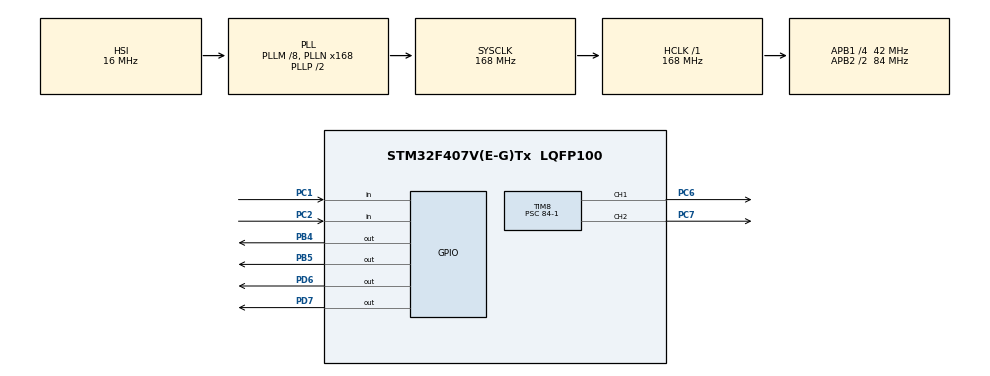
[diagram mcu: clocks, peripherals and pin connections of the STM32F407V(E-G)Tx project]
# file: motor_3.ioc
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Mcu.Family=STM32F4
Mcu.Name=STM32F407V(E-G)Tx
Mcu.Package=LQFP100
NVIC.PriorityGroup=NVIC_PRIORITYGROUP_4
PA13.Mode=Serial_Wire
PA13.Signal=SYS_JTMS-SWDIO
PA14.Mode=Serial_Wire
PA14.Signal=SYS_JTCK-SWCLK
PB4.Signal=GPIO_Output
PB5.Signal=GPIO_Output
PC1.GPIO_PuPd=GPIO_PULLUP
PC1.Signal=GPIO_Input
PC2.GPIO_PuPd=GPIO_PULLUP
PC2.Signal=GPIO_Input
PC6.Signal=S_TIM8_CH1
PC7.Signal=S_TIM8_CH2
PD6.Signal=GPIO_Output
PD7.Signal=GPIO_Output
PH0-OSC_IN.Mode=HSE-External-Oscillator
PH0-OSC_IN.Signal=RCC_OSC_IN
PH1-OSC_OUT.Mode=HSE-External-Oscillator
PH1-OSC_OUT.Signal=RCC_OSC_OUT
ProjectManager.HeapSize=0x200
ProjectManager.StackSize=0x400
ProjectManager.TargetToolchain=STM32CubeIDE
RCC.48MHZClocksFreq_Value=84000000
RCC.AHBFreq_Value=168000000
RCC.APB1CLKDivider=RCC_HCLK_DIV4
RCC.APB1Freq_Value=42000000
RCC.APB1TimFreq_Value=84000000
RCC.APB2CLKDivider=RCC_HCLK_DIV2
RCC.APB2Freq_Value=84000000
RCC.APB2TimFreq_Value=168000000
RCC.CortexFreq_Value=168000000
RCC.HCLKFreq_Value=168000000
RCC.HSE_VALUE=25000000
RCC.HSI_VALUE=16000000
RCC.LSE_VALUE=32768
RCC.PLLM=8
RCC.PLLN=168
RCC.SYSCLKFreq_VALUE=168000000
RCC.SYSCLKSource=RCC_SYSCLKSOURCE_PLLCLK
RCC.VCOOutputFreq_Value=336000000
SH.S_TIM8_CH1.0=TIM8_CH1,PWM Generation1 CH1
SH.S_TIM8_CH2.0=TIM8_CH2,PWM Generation2 CH2
TIM8.Channel-PWM\ Generation1\ CH1=TIM_CHANNEL_1
TIM8.Channel-PWM\ Generation2\ CH2=TIM_CHANNEL_2
TIM8.Period=1000-1
TIM8.Prescaler=84-1
VP_TIM8_VS_ClockSourceINT.Mode=Internal
board=custom

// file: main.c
/* USER CODE BEGIN Header */
/**
  ******************************************************************************
  * @file           : main.c
  * @brief          : Main program body
  ******************************************************************************
  * @attention
  *
  * Copyright (c) 2025 STMicroelectronics.
  * All rights reserved.
  *
  * This software is licensed under terms that can be found in the LICENSE file
  * in the root directory of this software component.
  * If no LICENSE file comes with this software, it is provided AS-IS.
  *
  ******************************************************************************
  */
/* USER CODE END Header */
#include "main.h"

/* USER CODE BEGIN PTD */
int status=0;
int key_1,key_2;
int speed;
uint8_t key1_pressed = 0;
uint8_t key2_pressed = 0;
/* USER CODE END PTD */

/* USER CODE BEGIN PD */
#define SPEED_LOW 200	// 低速，占空比 20%
#define SPEED_HIGH 800	// 高速，占空比 80%
/* USER CODE END PD */

TIM_HandleTypeDef htim8;

/* USER CODE BEGIN PV */
uint8_t speed_mode = 0;	    // 0=慢速，1=快速
uint8_t dir_mode = 0;		// 0=正转，1=反转
/* USER CODE END PV */

void SystemClock_Config(void);
static void MX_GPIO_Init(void);
static void MX_TIM8_Init(void);

/* USER CODE BEGIN 0 */
void Motor_Set(uint8_t dir , uint16_t speed)
{
	__HAL_TIM_SET_COMPARE(&htim8 , TIM_CHANNEL_1 , speed);		//设置占空比
	__HAL_TIM_SET_COMPARE(&htim8 , TIM_CHANNEL_2 , speed);
	if(dir == 0)	//正转
	{
			HAL_GPIO_WritePin(GPIOD,GPIO_PIN_7,GPIO_PIN_SET);		//AIN1和BIN1高电平
			HAL_GPIO_WritePin(GPIOD,GPIO_PIN_6,GPIO_PIN_RESET);	//AIN2和BIN2低电平
			HAL_GPIO_WritePin(GPIOB,GPIO_PIN_4,GPIO_PIN_SET);	    //AIN1和BIN1低电平
			HAL_GPIO_WritePin(GPIOB,GPIO_PIN_5,GPIO_PIN_RESET);		//AIN2和BIN2高电平
	}
	else		//反转
	{
		   HAL_GPIO_WritePin(GPIOD,GPIO_PIN_7,GPIO_PIN_RESET);		//AIN1和BIN1高电平
		   HAL_GPIO_WritePin(GPIOD,GPIO_PIN_6,GPIO_PIN_SET);	//AIN2和BIN2低电平
		   HAL_GPIO_WritePin(GPIOB,GPIO_PIN_4,GPIO_PIN_RESET);	    //AIN1和BIN1低电平
	       HAL_GPIO_WritePin(GPIOB,GPIO_PIN_5,GPIO_PIN_SET);		//AIN2和BIN2高电平
	}
}

		void key_read(void)
		{

			key_1=HAL_GPIO_ReadPin(GPIOC,GPIO_PIN_1) == GPIO_PIN_SET;
			key_2=HAL_GPIO_ReadPin(GPIOC,GPIO_PIN_2) == GPIO_PIN_SET;

		}
/* USER CODE END 0 */

int main(void)
{

  /* MCU Configuration--------------------------------------------------------*/

  /* Reset of all peripherals, Initializes the Flash interface and the Systick. */
  HAL_Init();

  /* Configure the system clock */
  SystemClock_Config();

  /* Initialize all configured peripherals */
  MX_GPIO_Init();
  MX_TIM8_Init();
  /* USER CODE BEGIN 2 */
  HAL_TIM_PWM_Start(&htim8, TIM_CHANNEL_1);
  HAL_TIM_PWM_Start(&htim8, TIM_CHANNEL_2);
  /* USER CODE END 2 */

  /* Infinite loop */
  /* USER CODE BEGIN WHILE */
  while (1)
  {
	  // 检测 KEY1（速度）
      if (HAL_GPIO_ReadPin(GPIOC, GPIO_PIN_1) == GPIO_PIN_SET)  // 按下
      {
          if (!key1_pressed)  // 首次按下
          {
              key1_pressed = 1;
              speed_mode = !speed_mode;
              uint16_t speed = (speed_mode == 0) ? SPEED_LOW : SPEED_HIGH;
              Motor_Set(dir_mode, speed);
              HAL_Delay(50);  // 简单去抖
          }
      }
      else
      {
          key1_pressed = 0;  // 松开
      }

      // 检测 KEY2（方向）
      if (HAL_GPIO_ReadPin(GPIOC, GPIO_PIN_2) == GPIO_PIN_SET)  // 按下
      {
          if (!key2_pressed)  // 首次按下
          {
              key2_pressed = 1;
              dir_mode = !dir_mode;
              uint16_t speed = (speed_mode == 0) ? SPEED_LOW : SPEED_HIGH;
              Motor_Set(dir_mode, speed);
              HAL_Delay(50);  // 简单去抖
          }
      }
       else
       {
           key2_pressed = 0;  // 松开
       }

       HAL_Delay(10);  // 降低 CPU 占用
   }
}
    /* USER CODE END WHILE */

void SystemClock_Config(void)
{
  RCC_OscInitTypeDef RCC_OscInitStruct = {0};
  RCC_ClkInitTypeDef RCC_ClkInitStruct = {0};

  /** Configure the main internal regulator output voltage
  */
  __HAL_RCC_PWR_CLK_ENABLE();
  __HAL_PWR_VOLTAGESCALING_CONFIG(PWR_REGULATOR_VOLTAGE_SCALE1);

  /** Initializes the RCC Oscillators according to the specified parameters
  * in the RCC_OscInitTypeDef structure.
  */
  RCC_OscInitStruct.OscillatorType = RCC_OSCILLATORTYPE_HSI;
  RCC_OscInitStruct.HSIState = RCC_HSI_ON;
  RCC_OscInitStruct.HSICalibrationValue = RCC_HSICALIBRATION_DEFAULT;
  RCC_OscInitStruct.PLL.PLLState = RCC_PLL_ON;
  RCC_OscInitStruct.PLL.PLLSource = RCC_PLLSOURCE_HSI;
  RCC_OscInitStruct.PLL.PLLM = 8;
  RCC_OscInitStruct.PLL.PLLN = 168;
  RCC_OscInitStruct.PLL.PLLP = RCC_PLLP_DIV2;
  RCC_OscInitStruct.PLL.PLLQ = 4;
  if (HAL_RCC_OscConfig(&RCC_OscInitStruct) != HAL_OK)
  {
    Error_Handler();
  }

  /** Initializes the CPU, AHB and APB buses clocks
  */
  RCC_ClkInitStruct.ClockType = RCC_CLOCKTYPE_HCLK|RCC_CLOCKTYPE_SYSCLK
                              |RCC_CLOCKTYPE_PCLK1|RCC_CLOCKTYPE_PCLK2;
  RCC_ClkInitStruct.SYSCLKSource = RCC_SYSCLKSOURCE_PLLCLK;
  RCC_ClkInitStruct.AHBCLKDivider = RCC_SYSCLK_DIV1;
  RCC_ClkInitStruct.APB1CLKDivider = RCC_HCLK_DIV4;
  RCC_ClkInitStruct.APB2CLKDivider = RCC_HCLK_DIV2;

  if (HAL_RCC_ClockConfig(&RCC_ClkInitStruct, FLASH_LATENCY_5) != HAL_OK)
  {
    Error_Handler();
  }
}

static void MX_TIM8_Init(void)
{

  TIM_ClockConfigTypeDef sClockSourceConfig = {0};
  TIM_MasterConfigTypeDef sMasterConfig = {0};
  TIM_OC_InitTypeDef sConfigOC = {0};
  TIM_BreakDeadTimeConfigTypeDef sBreakDeadTimeConfig = {0};

  htim8.Instance = TIM8;
  htim8.Init.Prescaler = 84-1;
  htim8.Init.CounterMode = TIM_COUNTERMODE_UP;
  htim8.Init.Period = 1000-1;
  htim8.Init.ClockDivision = TIM_CLOCKDIVISION_DIV1;
  htim8.Init.RepetitionCounter = 0;
  htim8.Init.AutoReloadPreload = TIM_AUTORELOAD_PRELOAD_DISABLE;
  if (HAL_TIM_Base_Init(&htim8) != HAL_OK)
  {
    Error_Handler();
  }
  sClockSourceConfig.ClockSource = TIM_CLOCKSOURCE_INTERNAL;
  if (HAL_TIM_ConfigClockSource(&htim8, &sClockSourceConfig) != HAL_OK)
  {
    Error_Handler();
  }
  if (HAL_TIM_PWM_Init(&htim8) != HAL_OK)
  {
    Error_Handler();
  }
  sMasterConfig.MasterOutputTrigger = TIM_TRGO_RESET;
  sMasterConfig.MasterSlaveMode = TIM_MASTERSLAVEMODE_DISABLE;
  if (HAL_TIMEx_MasterConfigSynchronization(&htim8, &sMasterConfig) != HAL_OK)
  {
    Error_Handler();
  }
  sConfigOC.OCMode = TIM_OCMODE_PWM1;
  sConfigOC.Pulse = 0;
  sConfigOC.OCPolarity = TIM_OCPOLARITY_HIGH;
  sConfigOC.OCNPolarity = TIM_OCNPOLARITY_HIGH;
  sConfigOC.OCFastMode = TIM_OCFAST_DISABLE;
  sConfigOC.OCIdleState = TIM_OCIDLESTATE_RESET;
  sConfigOC.OCNIdleState = TIM_OCNIDLESTATE_RESET;
  if (HAL_TIM_PWM_ConfigChannel(&htim8, &sConfigOC, TIM_CHANNEL_1) != HAL_OK)
  {
    Error_Handler();
  }
  if (HAL_TIM_PWM_ConfigChannel(&htim8, &sConfigOC, TIM_CHANNEL_2) != HAL_OK)
  {
    Error_Handler();
  }
  sBreakDeadTimeConfig.OffStateRunMode = TIM_OSSR_DISABLE;
  sBreakDeadTimeConfig.OffStateIDLEMode = TIM_OSSI_DISABLE;
  sBreakDeadTimeConfig.LockLevel = TIM_LOCKLEVEL_OFF;
  sBreakDeadTimeConfig.DeadTime = 0;
  sBreakDeadTimeConfig.BreakState = TIM_BREAK_DISABLE;
  sBreakDeadTimeConfig.BreakPolarity = TIM_BREAKPOLARITY_HIGH;
  sBreakDeadTimeConfig.AutomaticOutput = TIM_AUTOMATICOUTPUT_DISABLE;
  if (HAL_TIMEx_ConfigBreakDeadTime(&htim8, &sBreakDeadTimeConfig) != HAL_OK)
  {
    Error_Handler();
  }
  HAL_TIM_MspPostInit(&htim8);

}

static void MX_GPIO_Init(void)
{
  GPIO_InitTypeDef GPIO_InitStruct = {0};

  /* GPIO Ports Clock Enable */
  __HAL_RCC_GPIOH_CLK_ENABLE();
  __HAL_RCC_GPIOC_CLK_ENABLE();
  __HAL_RCC_GPIOA_CLK_ENABLE();
  __HAL_RCC_GPIOD_CLK_ENABLE();
  __HAL_RCC_GPIOB_CLK_ENABLE();

  /*Configure GPIO pin Output Level */
  HAL_GPIO_WritePin(GPIOD, GPIO_PIN_6|GPIO_PIN_7, GPIO_PIN_RESET);

  /*Configure GPIO pin Output Level */
  HAL_GPIO_WritePin(GPIOB, GPIO_PIN_4|GPIO_PIN_5, GPIO_PIN_RESET);

  /*Configure GPIO pins : PC1 PC2 */
  GPIO_InitStruct.Pin = GPIO_PIN_1|GPIO_PIN_2;
  GPIO_InitStruct.Mode = GPIO_MODE_INPUT;
  GPIO_InitStruct.Pull = GPIO_PULLUP;
  HAL_GPIO_Init(GPIOC, &GPIO_InitStruct);

  /*Configure GPIO pins : PD6 PD7 */
  GPIO_InitStruct.Pin = GPIO_PIN_6|GPIO_PIN_7;
  GPIO_InitStruct.Mode = GPIO_MODE_OUTPUT_PP;
  GPIO_InitStruct.Pull = GPIO_NOPULL;
  GPIO_InitStruct.Speed = GPIO_SPEED_FREQ_LOW;
  HAL_GPIO_Init(GPIOD, &GPIO_InitStruct);

  /*Configure GPIO pins : PB4 PB5 */
  GPIO_InitStruct.Pin = GPIO_PIN_4|GPIO_PIN_5;
  GPIO_InitStruct.Mode = GPIO_MODE_OUTPUT_PP;
  GPIO_InitStruct.Pull = GPIO_NOPULL;
  GPIO_InitStruct.Speed = GPIO_SPEED_FREQ_LOW;
  HAL_GPIO_Init(GPIOB, &GPIO_InitStruct);

}

void Error_Handler(void)
{
  __disable_irq();
  while (1)
  {
  }
}
